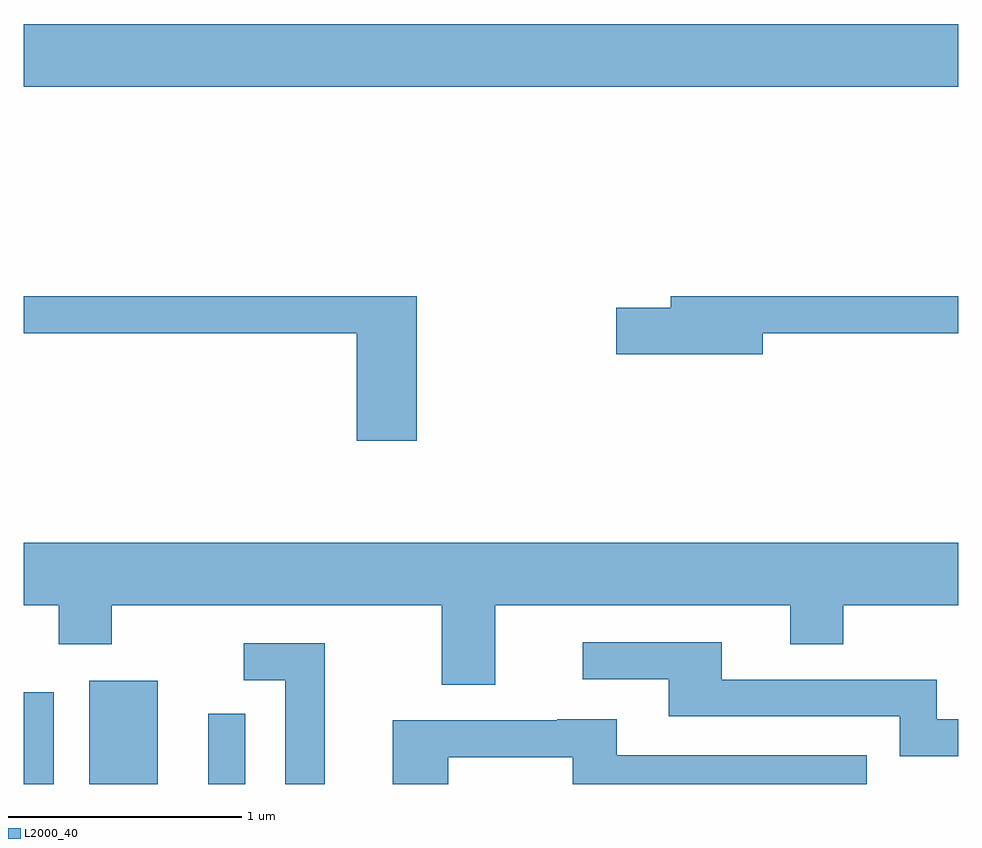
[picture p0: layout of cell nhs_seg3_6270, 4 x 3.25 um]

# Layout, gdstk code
import gdstk
lib = gdstk.Library(unit=1e-6, precision=1e-09)
def R(c, l, rs):  # rectangles x0, y0, x1, y1
    for r in rs: c.add(gdstk.rectangle(r[:2], r[2:], *l))
def P(c, l, *ps):  # polygons
    for p in ps: c.add(gdstk.Polygon(p, *l))
L2000_40 = (2000, 40)

nhs_seg3_6270 = lib.new_cell('nhs_seg3_6270')
R(nhs_seg3_6270, L2000_40, [(369.611,1151.892,369.739,1152.284), (369.891,1151.892,370.184,1152.334), (370.401,1151.892,370.559,1152.193), (369.611,1154.876,373.611,1155.144)])
P(nhs_seg3_6270, L2000_40, [(372.774,1153.821),(373.611,1153.821),(373.611,1153.979),(372.381,1153.979),(372.381,1153.929),(372.146,1153.929),(372.146,1153.731),(372.774,1153.731)],
  [(371.294,1153.979),(369.611,1153.979),(369.611,1153.821),(371.036,1153.821),(371.036,1153.361),(371.294,1153.361)],
  [(371.629,1152.656),(372.891,1152.656),(372.891,1152.491),(373.119,1152.491),(373.119,1152.656),(373.611,1152.656),(373.611,1152.924),(369.611,1152.924),(369.611,1152.656),(369.761,1152.656),(369.761,1152.491),(369.989,1152.491),(369.989,1152.656),(371.401,1152.656),(371.401,1152.316),(371.629,1152.316)],
  [(373.611,1152.169),(373.519,1152.169),(373.519,1152.339),(372.599,1152.339),(372.599,1152.499),(372.003,1152.499),(372.003,1152.341),(372.371,1152.341),(372.371,1152.181),(373.361,1152.181),(373.361,1152.011),(373.611,1152.011)],
  [(370.899,1152.494),(370.553,1152.494),(370.553,1152.336),(370.731,1152.336),(370.731,1151.892),(370.899,1151.892)],
  [(371.429,1152.006),(371.961,1152.006),(371.961,1151.892),(373.218,1151.892),(373.218,1152.014),(372.149,1152.014),(372.149,1152.169),(371.895,1152.169),(371.895,1152.164),(371.191,1152.164),(371.191,1151.892),(371.429,1151.892)])

lib.write_gds('nhs_seg3_6270.gds')
